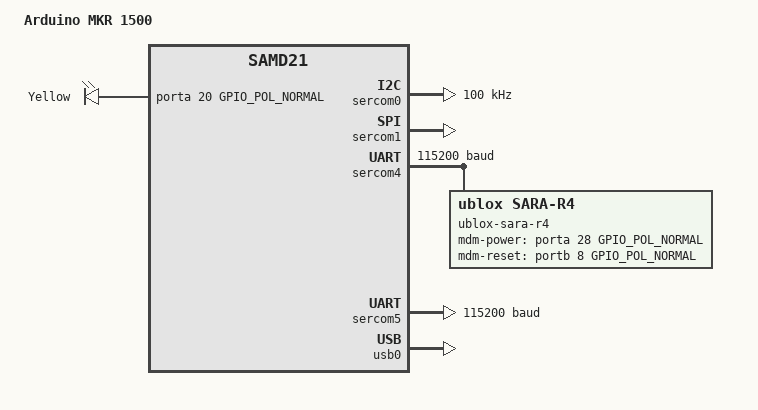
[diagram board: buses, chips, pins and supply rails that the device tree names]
/*
 * Copyright (c) 2020 Scanimetrics Inc.
 *
 * SPDX-License-Identifier: Apache-2.0
 */

/*
 *
 *  See this guide for device tree info
 *  https://docs.zephyrproject.org/latest/guides/dts/index.html
 *
 *  The device tree specification is here:
 *  https://www.devicetree.org/specifications/
 *
 */

/dts-v1/;
#include <atmel/samd21.dtsi>

/ {
	model = "Arduino MKR 1500";
	compatible = "arduino,mkr_1500", "atmel,samd21g18a", "atmel,samd21";

	chosen {
		zephyr,console = &sercom5;
		zephyr,shell-uart = &sercom5;
		zephyr,sram = &sram0;
		zephyr,flash = &flash0;
		zephyr,code-partition = &code_partition;
	};

	/* These aliases are provided for compatibility with samples */
	aliases {
		led0 = &led0;
	};

	leds {
		compatible = "gpio-leds";
		led0: led_0 {
			gpios = <&porta 20 GPIO_POL_NORMAL>;
			label = "Yellow";
		};
	};
};

&cpu0 {
	clock-frequency = <48000000>;
};

//  SERCOM0 is "Wire"
&sercom0 {
	status = "okay";
	compatible = "atmel,sam0-i2c";
	//  see zephyr/include/dt-bindings/i2c/i2c.h for device tree frequency defines
	clock-frequency = <I2C_BITRATE_STANDARD>;
	#address-cells = <1>;
	#size-cells = <0>;
	dma = <0>;
	// interrupts = <9 0>;

	// ecc0: ecc508@c0 {
	// 	compatible = "microchip,ecc508";
	// 	label = "ECC508";
	// 	reg = <0xc0>;
	// };
};

//  SERCOM1 is "SPI"
&sercom1 {
	status = "okay";
	compatible = "atmel,sam0-spi";
	#address-cells = <1>;
	#size-cells = <0>;
	dopo = <0>;
	dipo = <3>;
	// rxdma = 0;
	// txdma = 0;
	// cs-gpios = <&porta 14 GPIO_POL_NORMAL>, <&portb 8 GPIO_POL_NORMAL>;
	// interrupts = <10 0>;
};

//  SERCOM2 is alternate for SERCOM0
&sercom2 {
	status = "disabled";
	compatible = "atmel,sam0-i2c";
	//  see zephyr/include/dt-bindings/i2c/i2c.h for device tree frequency defines
	clock-frequency = <I2C_BITRATE_STANDARD>;
	#address-cells = <1>;
	#size-cells = <0>;
	dma = <0>;
	// interrupts = <11 0>;
};

&sercom3 {
	status = "disabled";
};

//  SERCOM4 is "SerialSara" / "Serial2"
&sercom4 {
	status = "okay";
	compatible = "atmel,sam0-uart";
	// #address-cells = <1>;
	// #size-cells = <0>;
	current-speed = <115200>;
	// RX=PAD1
	rxpo = <1>;
	// TX=PAD0, RTS=PAD2, CTS=PAD3
	// See 26.8.1, TXPO
	txpo = <2>;
	// interrupts = <13 0>;

	sara_r4 {
		status = "okay";
		compatible = "ublox,sara-r4";
		label = "ublox-sara-r4";
		mdm-power-gpios = <&porta 28 GPIO_POL_NORMAL>;
		mdm-reset-gpios = <&portb 8 GPIO_POL_NORMAL>;
		// mdm-vint-gpios = <>;
	};
};

//  SERCOM5 is "Serial1"
&sercom5 {
	status = "okay";
	compatible = "atmel,sam0-uart";
	#address-cells = <1>;
	#size-cells = <0>;
	current-speed = <115200>;
	// RX=PAD3
	rxpo = <3>;
	// TX=PAD2
	txpo = <1>;
	// interrupts = <14 0>;
};

/*
 *  See this link for additional info on flash partitions
 *  https://github.com/zephyrproject-rtos/zephyr/blob/master/doc/guides/dts/flash_partitions.inc
 *
 *  Note, for some reason, code is not place automatically in the code partition
 *  To do so, you need to ensure that the base address is set in your project config
 *  For example:
 *    CONFIG_FLASH_BASE_ADDRESS=0x2000
 *
 */

&flash0 {
	partitions {
		compatible = "fixed-partitions";
		#address-cells = <1>;
		#size-cells = <1>;

		boot_partition: partition@0 {
			label = "sam-ba";
			reg = <0x00000000 0x2000>;
			read-only;
		};

		code_partition: partition@2000 {
			label = "code";
			reg = <0x2000 0x3a000>;
			read-only;
		};

		/*
		 * The final 16 KiB is reserved for the application
		 * and is used by NFFS or LittleFS if enabled.
		 */
		storage_partition: partition@3c000 {
			label = "storage";
			reg = <0x0003c000 0x00004000>;
		};
	};
};

&usb0 {
	status = "okay";
};
